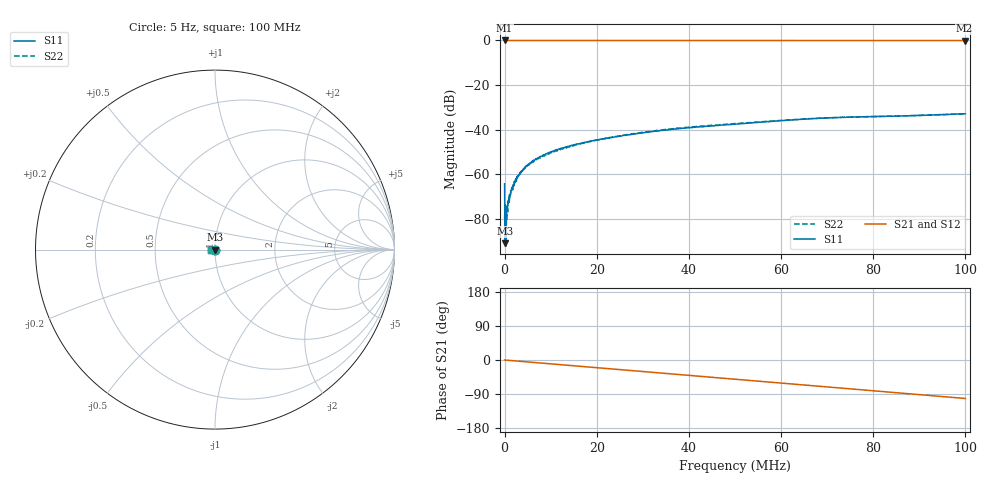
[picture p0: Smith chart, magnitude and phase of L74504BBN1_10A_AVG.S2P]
!Agilent Technologies,E5061B,MY49102235,A.02.00
!Date: Mon Jul 10 16:26:42 2023
!Data & Calibration Information:
!Freq	S11:SOLT2(ON)	S21:SOLT2(ON)	S12:SOLT2(ON)	S22:SOLT2(ON)
# Hz S RI R 50
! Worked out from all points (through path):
!   1600 points, 5 Hz to 100 MHz, reference 50 ohm
!   highest |S21| = 0.01 dB at 5 Hz (marker M1); lowest = 0.0 dB at 99.81 MHz (marker M2)
!   group delay of S21, straight-line fit = 2.82 ns
!   lowest |S11| = -91.0 dB at 125.1 kHz (marker M3), VSWR 1.00, Z = 50 - j0.00111 ohm
!   |S11| at or under -10 dB: start of sweep to end of sweep
!   |S22| runs from -92.3 to -32.9 dB; largest |S21 - S12| = 0.0026
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5  -0.000429 0.000431  1.002 0.00228  1 -4.04e-05  -0.000103 -6.15e-05
125083.2  -2.6e-05 -1.11e-05  1 -0.00244  1 -0.00216  -2.99e-05 -4.02e-05
250161.3  3.14e-05 -1.1e-06  0.9998 -0.00462  0.9998 -0.00449  2.33e-05 -6.79e-06
562856.8  0.000129 -7.59e-05  0.9997 -0.0102  0.9997 -0.00974  5.49e-05 -0.000139
938091.3  -0.000155 -0.000262  0.9995 -0.0165  0.9994 -0.016  -0.000135 -0.00028
1250787  -6.35e-05 -0.000351  0.9997 -0.0223  0.9992 -0.0218  -3.18e-05 -0.000337
1813638  -6.62e-05 -0.000505  1 -0.032  0.9991 -0.0319  -6.38e-05 -0.000515
2626647  -4.62e-05 -0.000781  0.9986 -0.0466  0.9991 -0.0458  -1.98e-05 -0.000796
3252037  1.42e-05 -0.001  0.9983 -0.0577  0.9982 -0.0573  -3.45e-05 -0.001
4002506  -6.82e-06 -0.00128  0.9974 -0.0709  0.9974 -0.0706  -8.11e-05 -0.00123
5003132  -3.17e-05 -0.00159  0.996 -0.0886  0.9958 -0.0883  -0.000213 -0.0016
6378992  -0.000129 -0.00207  0.9937 -0.1128  0.9935 -0.1124  -0.000182 -0.00194
9318328  -0.000358 -0.00293  0.9863 -0.1643  0.9864 -0.1641  -0.00039 -0.0028
1.282052e7  -0.000659 -0.00389  0.9742 -0.225  0.9743 -0.2249  -0.00063 -0.00373
1.669794e7  -0.00117 -0.00485  0.9565 -0.2911  0.9565 -0.2911  -0.00108 -0.00478
2.445279e7  -0.00256 -0.00649  0.9078 -0.4193  0.9075 -0.4193  -0.00248 -0.00668
3.333334e7  -0.00471 -0.00812  0.8306 -0.5563  0.8306 -0.556  -0.00457 -0.00848
5.003127e7  -0.00938 -0.00943  0.632 -0.7737  0.632 -0.7736  -0.00972 -0.00969
6.672921e7  -0.0153 -0.00871  0.3785 -0.9237  0.3785 -0.9233  -0.0154 -0.00875
8.33646e7  -0.0192 -0.00551  0.0932 -0.9927  0.0933 -0.9923  -0.0192 -0.00534
9.981238e7  -0.0226 7.33e-05  -0.1963 -0.9759  -0.1962 -0.976  -0.0225 -8.83e-05
1e8  -0.0227 0.000152  -0.1994 -0.9754  -0.1994 -0.9753  -0.0228 -9.58e-05
